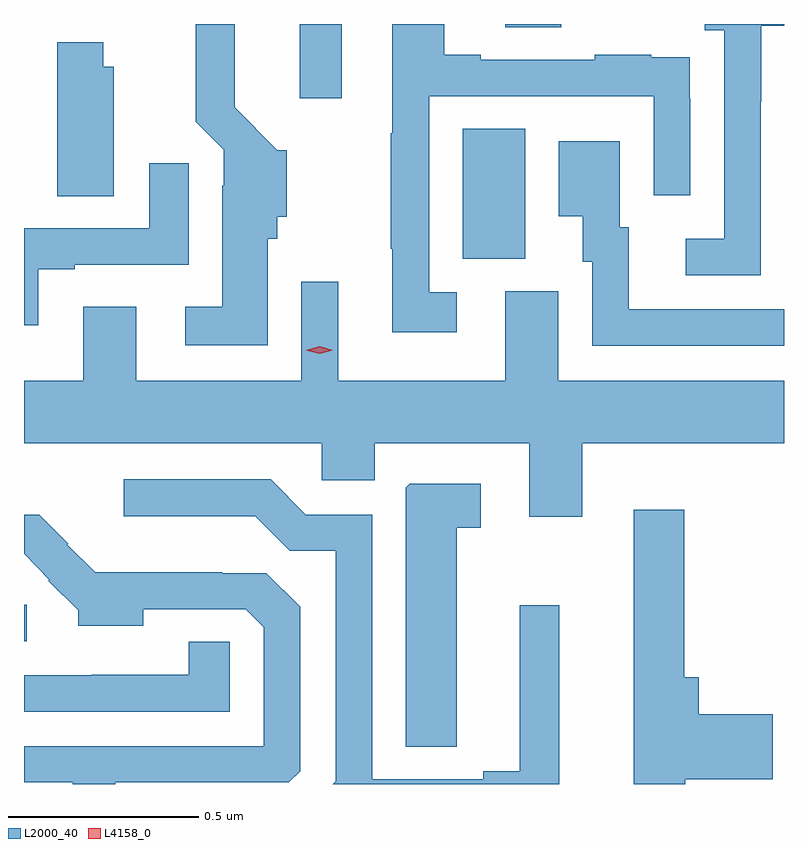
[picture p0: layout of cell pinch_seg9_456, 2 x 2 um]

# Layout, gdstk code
import gdstk
lib = gdstk.Library(unit=1e-6, precision=1e-09)
def R(c, l, rs):  # rectangles x0, y0, x1, y1
    for r in rs: c.add(gdstk.rectangle(r[:2], r[2:], *l))
def P(c, l, *ps):  # polygons
    for p in ps: c.add(gdstk.Polygon(p, *l))
L2000_40 = (2000, 40)
L4158_0 = (4158, 0)

pinch_seg9_456 = lib.new_cell('pinch_seg9_456')
R(pinch_seg9_456, L2000_40, [(245.861,1245.183,245.868,1245.279), (247.016,1246.189,247.18,1246.532), (246.587,1246.611,246.697,1246.807), (247.127,1246.798,247.275,1246.807)])
P(pinch_seg9_456, L2000_40, [(246.502,1246.242),(246.528,1246.242),(246.528,1246.3),(246.553,1246.3),(246.553,1246.475),(246.528,1246.475),(246.415,1246.588),(246.415,1246.807),(246.313,1246.807),(246.313,1246.55),(246.387,1246.476),(246.387,1246.382),(246.383,1246.382),(246.383,1246.063),(246.285,1246.063),(246.285,1245.962),(246.502,1245.962)],
  [(247.8,1246.603),(247.801,1246.603),(247.801,1246.803),(247.861,1246.803),(247.861,1246.807),(247.653,1246.807),(247.653,1246.79),(247.704,1246.79),(247.704,1246.242),(247.602,1246.242),(247.602,1246.146),(247.8,1246.146)],
  [(247,1246.101),(246.927,1246.101),(246.927,1246.617),(247.518,1246.617),(247.518,1246.356),(247.614,1246.356),(247.614,1246.61),(247.613,1246.61),(247.613,1246.719),(247.511,1246.719),(247.511,1246.726),(247.363,1246.726),(247.363,1246.713),(247.063,1246.713),(247.063,1246.726),(246.967,1246.726),(246.967,1246.807),(246.83,1246.807),(246.83,1246.52),(246.826,1246.52),(246.826,1246.216),(246.83,1246.216),(246.83,1245.996),(247,1245.996)],
  [(246.097,1246.695),(246.07,1246.695),(246.07,1246.759),(245.948,1246.759),(245.948,1246.354),(246.097,1246.354)],
  [(247.861,1246.056),(247.453,1246.056),(247.453,1246.272),(247.429,1246.272),(247.429,1246.498),(247.268,1246.498),(247.268,1246.301),(247.331,1246.301),(247.331,1246.182),(247.356,1246.182),(247.356,1245.96),(247.861,1245.96)],
  [(245.899,1246.161),(245.995,1246.161),(245.995,1246.173),(246.295,1246.173),(246.295,1246.441),(246.191,1246.441),(246.191,1246.269),(245.861,1246.269),(245.861,1246.014),(245.899,1246.014)],
  [(247.33,1245.704),(247.861,1245.704),(247.861,1245.868),(247.267,1245.868),(247.267,1246.104),(247.127,1246.104),(247.127,1245.868),(246.688,1245.868),(246.688,1246.129),(246.591,1246.129),(246.591,1245.868),(246.157,1245.868),(246.157,1246.063),(246.017,1246.063),(246.017,1245.868),(245.861,1245.868),(245.861,1245.704),(246.645,1245.704),(246.645,1245.606),(246.784,1245.606),(246.784,1245.704),(247.19,1245.704),(247.19,1245.51),(247.33,1245.51)],
  [(247.27,1245.277),(247.166,1245.277),(247.166,1244.84),(247.07,1244.84),(247.07,1244.82),(246.777,1244.82),(246.777,1245.516),(246.603,1245.516),(246.51,1245.609),(246.123,1245.609),(246.123,1245.512),(246.469,1245.512),(246.56,1245.421),(246.681,1245.421),(246.681,1244.814),(246.674,1244.807),(247.27,1244.807)],
  [(247,1245.481),(247.063,1245.481),(247.063,1245.597),(246.876,1245.597),(246.866,1245.587),(246.866,1244.905),(247,1244.905)],
  [(247.601,1244.819),(247.831,1244.819),(247.831,1244.99),(247.637,1244.99),(247.637,1245.088),(247.598,1245.088),(247.598,1245.529),(247.466,1245.529),(247.466,1244.807),(247.601,1244.807)],
  [(246.101,1244.811),(246.558,1244.811),(246.588,1244.841),(246.588,1245.273),(246.499,1245.362),(246.383,1245.362),(246.383,1245.364),(246.049,1245.364),(245.975,1245.437),(245.977,1245.439),(245.901,1245.516),(245.861,1245.516),(245.861,1245.413),(245.928,1245.345),(245.925,1245.342),(246.004,1245.264),(246.004,1245.224),(246.175,1245.224),(246.175,1245.267),(246.444,1245.267),(246.492,1245.219),(246.492,1244.907),(245.861,1244.907),(245.861,1244.811),(245.989,1244.811),(245.989,1244.807),(246.101,1244.807)],
  [(246.402,1245.182),(246.294,1245.182),(246.294,1245.094),(246.039,1245.094),(246.039,1245.093),(245.861,1245.093),(245.861,1244.997),(246.402,1244.997)])
P(pinch_seg9_456, L4158_0, [(246.639,1245.939),(246.603,1245.948),(246.603,1245.949),(246.603,1245.949),(246.639,1245.959),(246.674,1245.949),(246.674,1245.949),(246.674,1245.948)])

lib.write_gds('pinch_seg9_456.gds')
